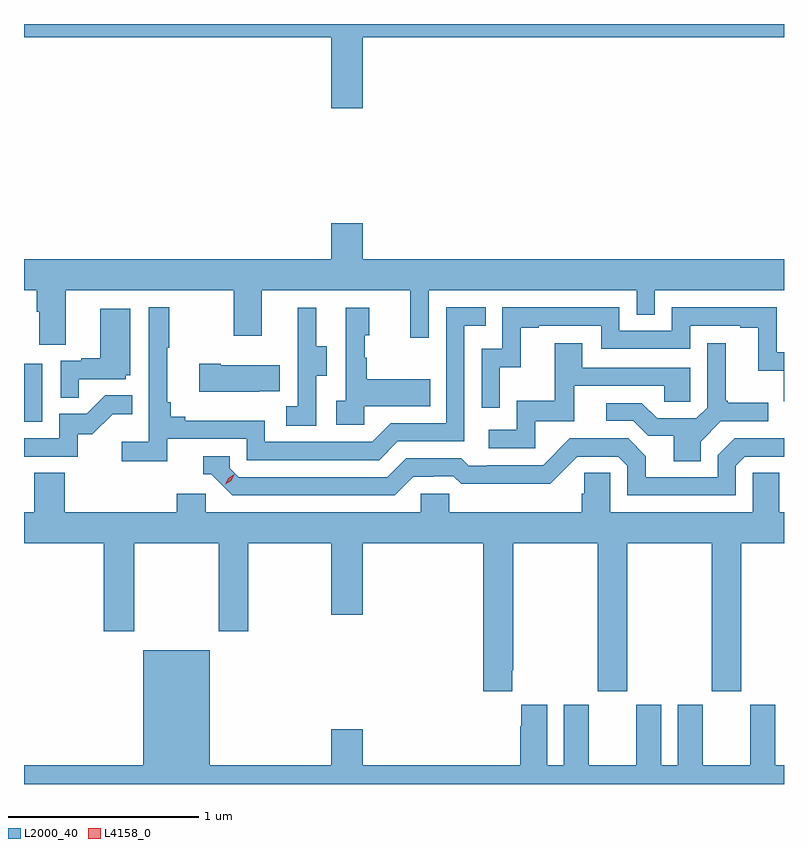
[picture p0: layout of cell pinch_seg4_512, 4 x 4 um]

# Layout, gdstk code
import gdstk
lib = gdstk.Library(unit=1e-6, precision=1e-09)
def R(c, l, rs):  # rectangles x0, y0, x1, y1
    for r in rs: c.add(gdstk.rectangle(r[:2], r[2:], *l))
def P(c, l, *ps):  # polygons
    for p in ps: c.add(gdstk.Polygon(p, *l))
L2000_40 = (2000, 40)
L4158_0 = (4158, 0)

pinch_seg4_512 = lib.new_cell('pinch_seg4_512')
R(pinch_seg4_512, L2000_40, [(966.586,760.164,966.682,760.471)])
P(pinch_seg4_512, L2000_40, [(968.368,762.188),(970.586,762.188),(970.586,762.258),(966.586,762.258),(966.586,762.188),(968.204,762.188),(968.204,761.814),(968.368,761.814)],
  [(966.586,760.856),(966.653,760.856),(966.653,760.744),(966.665,760.744),(966.665,760.57),(966.805,760.57),(966.805,760.856),(967.69,760.856),(967.69,760.617),(967.837,760.617),(967.837,760.856),(968.618,760.856),(968.618,760.608),(968.715,760.608),(968.715,760.856),(969.81,760.856),(969.81,760.729),(969.906,760.729),(969.906,760.856),(970.586,760.856),(970.586,761.02),(968.368,761.02),(968.368,761.209),(968.204,761.209),(968.204,761.02),(966.586,761.02)],
  [(967.34,760.074),(967.758,760.074),(967.758,759.963),(968.455,759.963),(968.554,760.062),(968.904,760.062),(968.904,760.671),(969.017,760.671),(969.017,760.767),(968.808,760.767),(968.808,760.158),(968.517,760.158),(968.418,760.059),(967.854,760.059),(967.854,760.171),(967.435,760.171),(967.435,760.19),(967.358,760.19),(967.358,760.267),(967.339,760.267),(967.339,760.555),(967.351,760.555),(967.351,760.768),(967.242,760.768),(967.242,760.06),(967.101,760.06),(967.101,759.958),(967.34,759.958)],
  [(969.09,760.451),(969.2,760.451),(969.2,760.659),(969.295,760.659),(969.295,760.671),(969.624,760.671),(969.624,760.548),(970.092,760.548),(970.092,760.671),(970.355,760.671),(970.355,760.659),(970.451,760.659),(970.451,760.433),(970.584,760.433),(970.584,760.272),(970.586,760.272),(970.586,760.531),(970.548,760.531),(970.548,760.767),(969.996,760.767),(969.996,760.644),(969.72,760.644),(969.72,760.767),(969.102,760.767),(969.102,760.548),(968.994,760.548),(968.994,760.239),(969.09,760.239)],
  [(968.124,760.408),(968.179,760.408),(968.179,760.563),(968.125,760.563),(968.125,760.765),(968.027,760.765),(968.027,760.551),(968.028,760.551),(968.028,760.247),(967.965,760.247),(967.965,760.144),(968.124,760.144)],
  [(968.376,760.247),(968.723,760.247),(968.723,760.387),(968.389,760.387),(968.389,760.502),(968.379,760.502),(968.379,760.62),(968.404,760.62),(968.404,760.765),(968.28,760.765),(968.28,760.274),(968.229,760.274),(968.229,760.149),(968.376,760.149)],
  [(966.875,760.389),(967.122,760.389),(967.122,760.41),(967.144,760.41),(967.144,760.759),(966.986,760.759),(966.986,760.498),(966.887,760.498),(966.887,760.485),(966.78,760.485),(966.78,760.291),(966.875,760.291)],
  [(969.276,760.167),(969.481,760.167),(969.481,760.353),(969.955,760.353),(969.955,760.269),(970.092,760.269),(970.092,760.449),(969.523,760.449),(969.523,760.579),(969.379,760.579),(969.379,760.276),(969.18,760.276),(969.18,760.122),(969.033,760.122),(969.033,760.026),(969.276,760.026)],
  [(970.147,760.06),(970.254,760.167),(970.504,760.167),(970.504,760.264),(970.291,760.264),(970.291,760.276),(970.279,760.276),(970.279,760.579),(970.182,760.579),(970.182,760.239),(970.125,760.182),(969.919,760.182),(969.838,760.263),(969.651,760.263),(969.651,760.17),(969.792,760.17),(969.872,760.09),(970.007,760.09),(970.007,759.958),(970.147,759.958)],
  [(967.823,760.325),(967.931,760.325),(967.931,760.462),(967.621,760.462),(967.621,760.47),(967.509,760.47),(967.509,760.322),(967.823,760.322)],
  [(966.87,760.098),(966.946,760.098),(967.053,760.205),(967.157,760.205),(967.157,760.304),(967.013,760.304),(966.915,760.206),(966.771,760.206),(966.771,760.077),(966.586,760.077),(966.586,759.981),(966.87,759.981)],
  [(968.635,759.876),(968.742,759.876),(968.742,759.879),(968.845,759.879),(968.887,759.837),(969.12,759.837),(969.12,759.839),(969.356,759.839),(969.498,759.981),(969.714,759.981),(969.762,759.933),(969.762,759.777),(970.332,759.777),(970.332,759.933),(970.38,759.981),(970.586,759.981),(970.586,760.079),(970.542,760.079),(970.542,760.077),(970.326,760.077),(970.236,759.987),(970.236,759.873),(969.859,759.873),(969.859,759.983),(969.765,760.077),(969.459,760.077),(969.318,759.936),(969.025,759.936),(969.025,759.933),(968.926,759.933),(968.887,759.972),(968.598,759.972),(968.499,759.873),(967.716,759.873),(967.668,759.921),(967.668,759.984),(967.529,759.984),(967.529,759.888),(967.572,759.888),(967.683,759.777),(968.536,759.777)],
  [(969.157,758.857),(969.162,758.857),(969.162,759.524),(969.607,759.524),(969.607,758.745),(969.762,758.745),(969.762,759.524),(970.207,759.524),(970.207,758.745),(970.362,758.745),(970.362,759.524),(970.586,759.524),(970.586,759.688),(970.561,759.688),(970.561,759.896),(970.422,759.896),(970.422,759.688),(969.672,759.688),(969.672,759.896),(969.535,759.896),(969.535,759.786),(969.521,759.786),(969.521,759.688),(968.823,759.688),(968.823,759.786),(968.673,759.786),(968.673,759.688),(967.542,759.688),(967.542,759.786),(967.391,759.786),(967.391,759.688),(966.8,759.688),(966.8,759.896),(966.64,759.896),(966.64,759.688),(966.586,759.688),(966.586,759.524),(967.007,759.524),(967.007,759.063),(967.167,759.063),(967.167,759.524),(967.612,759.524),(967.612,759.063),(967.767,759.063),(967.767,759.524),(968.204,759.524),(968.204,759.15),(968.368,759.15),(968.368,759.524),(969.002,759.524),(969.002,758.745),(969.157,758.745)],
  [(970.586,758.356),(970.54,758.356),(970.54,758.674),(970.409,758.674),(970.409,758.356),(970.159,758.356),(970.159,758.674),(970.028,758.674),(970.028,758.356),(969.94,758.356),(969.94,758.674),(969.809,758.674),(969.809,758.356),(969.559,758.356),(969.559,758.674),(969.428,758.674),(969.428,758.356),(969.34,758.356),(969.34,758.674),(969.203,758.674),(969.203,758.561),(969.197,758.561),(969.197,758.356),(968.368,758.356),(968.368,758.545),(968.204,758.545),(968.204,758.356),(967.564,758.356),(967.564,758.962),(967.214,758.962),(967.214,758.356),(966.586,758.356),(966.586,758.258),(970.586,758.258)])
P(pinch_seg4_512, L4158_0, [(967.645,759.835),(967.645,759.835),(967.661,759.868),(967.692,759.887),(967.692,759.887),(967.692,759.887),(967.676,759.854),(967.645,759.835)])

lib.write_gds('pinch_seg4_512.gds')
